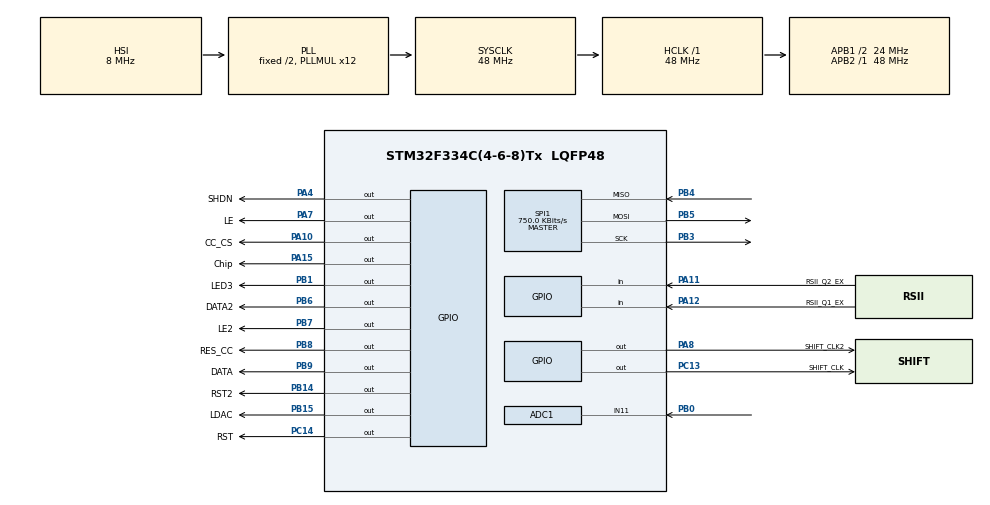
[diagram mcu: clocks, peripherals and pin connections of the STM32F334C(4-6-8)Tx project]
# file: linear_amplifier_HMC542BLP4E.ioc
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ADC1.Channel-0\#ChannelRegularConversion=ADC_CHANNEL_11
ADC1.NbrOfConversionFlag=1
ADC1.Offset-0\#ChannelRegularConversion=0
ADC1.OffsetNumber-0\#ChannelRegularConversion=ADC_OFFSET_NONE
ADC1.Rank-0\#ChannelRegularConversion=1
ADC1.SamplingTime-0\#ChannelRegularConversion=ADC_SAMPLETIME_1CYCLE_5
ADC1.SamplingTimeOPAMP-0\#ChannelRegularConversion=ADC_SAMPLETIME_19CYCLES_5
ADC1.SubFamily=STM32F334x8
ADC1.master=1
Mcu.Family=STM32F3
Mcu.Name=STM32F334C(4-6-8)Tx
Mcu.Package=LQFP48
NVIC.PriorityGroup=NVIC_PRIORITYGROUP_4
PA10.GPIO_Label=CC_CS
PA10.Signal=GPIO_Output
PA11.GPIO_Label=RSII_Q2_EX
PA11.Signal=GPIO_Input
PA12.GPIO_Label=RSII_Q1_EX
PA12.Signal=GPIO_Input
PA13.Mode=Serial_Wire
PA13.Signal=SYS_JTMS-SWDIO
PA14.Mode=Serial_Wire
PA14.Signal=SYS_JTCK-SWCLK
PA15.GPIO_Label=Chip
PA15.Signal=GPIO_Output
PA4.GPIO_Label=SHDN
PA4.Signal=GPIO_Output
PA7.GPIO_Label=LE
PA7.Signal=GPIO_Output
PA8.GPIO_Label=SHIFT_CLK2
PA8.Signal=GPIO_Output
PB0.Mode=IN11-Single-Ended
PB0.Signal=ADC1_IN11
PB1.GPIO_Label=LED3
PB1.Signal=GPIO_Output
PB14.GPIO_Label=RST2
PB14.Signal=GPIO_Output
PB15.GPIO_Label=LDAC
PB15.Signal=GPIO_Output
PB3.Mode=Full_Duplex_Master
PB3.Signal=SPI1_SCK
PB4.Mode=Full_Duplex_Master
PB4.Signal=SPI1_MISO
PB5.Mode=Full_Duplex_Master
PB5.Signal=SPI1_MOSI
PB6.GPIO_Label=DATA2
PB6.Signal=GPIO_Output
PB7.GPIO_Label=LE2
PB7.Signal=GPIO_Output
PB8.GPIO_Label=RES_CC
PB8.Signal=GPIO_Output
PB9.GPIO_Label=DATA
PB9.Signal=GPIO_Output
PC13.GPIO_Label=SHIFT_CLK
PC13.Signal=GPIO_Output
PC14\ /\ OSC32_IN.GPIO_Label=RST
PC14\ /\ OSC32_IN.Signal=GPIO_Output
ProjectManager.HeapSize=0x200
ProjectManager.StackSize=0x400
ProjectManager.TargetToolchain=STM32CubeIDE
RCC.AHBFreq_Value=48000000
RCC.APB1CLKDivider=RCC_HCLK_DIV2
RCC.APB1Freq_Value=24000000
RCC.APB1TimFreq_Value=48000000
RCC.APB2Freq_Value=48000000
RCC.APB2TimFreq_Value=48000000
RCC.CortexFreq_Value=48000000
RCC.HCLKFreq_Value=48000000
RCC.HSE_VALUE=8000000
RCC.HSI_VALUE=8000000
RCC.LSE_VALUE=32768
RCC.PLLMUL=RCC_PLL_MUL12
RCC.SYSCLKFreq_VALUE=48000000
RCC.SYSCLKSourceVirtual=RCC_SYSCLKSOURCE_PLLCLK
SPI1.BaudRatePrescaler=SPI_BAUDRATEPRESCALER_64
SPI1.CalculateBaudRate=750.0 KBits/s
SPI1.DataSize=SPI_DATASIZE_8BIT
SPI1.Direction=SPI_DIRECTION_2LINES
SPI1.Mode=SPI_MODE_MASTER
SPI1.VirtualType=VM_MASTER
TIM2.Period=65535
VP_TIM2_VS_ClockSourceINT.Mode=Internal
board=custom

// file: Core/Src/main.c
/* USER CODE BEGIN Header */
/**
 ******************************************************************************
 * @file           : main.c
 * @brief          : Main program body
 ******************************************************************************
 * @attention
 *
 * Copyright (c) 2025 STMicroelectronics.
 * All rights reserved.
 *
 * This software is licensed under terms that can be found in the LICENSE file
 * in the root directory of this software component.
 * If no LICENSE file comes with this software, it is provided AS-IS.
 *
 ******************************************************************************
 */
/* USER CODE END Header */
#include "main.h"
#include "adc.h"
#include "spi.h"
#include "tim.h"
#include "gpio.h"

/* USER CODE BEGIN Includes */
#include <CC1200_rx_reg_values_my.h>
#include <stdio.h>
#include <stdlib.h>
#include "CC1200_commands.h"
#include <string.h>
/* USER CODE END Includes */

/* USER CODE BEGIN PM */
const uint8_t scrambler_tbl[] = { 0x00, 0xa5, 0xd2, 0x69, 0xb4, 0xda, 0xed,
		0x76, 0xbb, 0x5d, 0xae, 0xd7, 0x6b, 0xb5, 0x5a, 0xad, 0x56, 0xab, 0xd5,
		0x6a, 0x35, 0x1a, 0x8d, 0x46, 0x23, 0x11, 0x88, 0x44, 0x22, 0x91, 0xc8,
		0x64, 0x32, 0x19, 0x0c, 0x86, 0x43, 0x21, 0x10, 0x08, 0x04, 0x02, 0x81,
		0x40, 0xa0, 0xd0, 0x68, 0x34, 0x9a, 0xcd, 0x66, 0x33, 0x99, 0x4c, 0xa6,
		0x53, 0xa9, 0xd4, 0xea, 0x75, 0x3a, 0x9d, 0xce, 0xe7, 0xf3, 0xf9, 0x7c,
		0x3e };

typedef struct {
	int8_t power_dbm;
	uint8_t pa_cfg1_value;
} TxPowerEntry;

const TxPowerEntry txPowerTable[] = { { 14, 0x7F }, { 13, 0x7C }, { 12, 0x7A },
		{ 11, 0x78 }, { 10, 0x76 }, { 9, 0x73 }, { 8, 0x71 }, { 7, 0x6E }, { 6,
				0x6C }, { 5, 0x6A }, { 4, 0x68 }, { 3, 0x66 }, { 2, 0x63 }, { 1,
				0x61 }, { 0, 0x5F }, { -3, 0x58 }, { -6, 0x51 }, { -11, 0x46 },
		{ -12, 0x44 }, { -24, 0x42 }, { -40, 0x41 }, };

typedef struct {
	char registerValue;
	float value_in_db_from_datsheet;
	float value_in_db_real;
	int value_in_db_to_display;
} attValues_t;

const attValues_t attValue[] = {

{ 0b11111100, 0, 1.2, 1 }, { 0b11110100, 1, 2.3, 2 }, { 0b11101100, 2, 3.3, 3 },
		{ 0b11100100, 3, 4.3, 4 }, { 0b11011100, 4, 5.3, 5 }, { 0b11010100, 5,
				5.3, 6 }, { 0b11001100, 6, 7.3, 7 }, { 0b11000100, 7, 8.3, 8 },
		{ 0b10111100, 8, 9.2, 9 }, { 0b10110100, 9, 10.2, 10 }, { 0b10101100,
				10, 11.2, 11 }, { 0b10100100, 11, 12.2, 12 }, { 0b10011100, 12,
				13.2, 13 }, { 0b10010100, 13, 14.2, 14 }, { 0b10001100, 14,
				15.2, 15 }, { 0b10000100, 15, 16.2, 16 }, { 0b01111100, 16,
				17.1, 17 }, { 0b01110100, 17, 18.1, 18 }, { 0b01101100, 18,
				19.1, 19 }, { 0b01100100, 19, 20.1, 20 }, { 0b01011100, 20,
				21.1, 21 }, { 0b01010100, 21, 22.1, 22 }, { 0b01001100, 22,
				23.1, 23 }, { 0b01000100, 23, 24.1, 24 }, { 0b00111100, 24,
				25.1, 25 }, { 0b00110100, 25, 26.1, 26 }, { 0b00101100, 26,
				27.1, 27 }, { 0b00100100, 27, 28.1, 28 }, { 0b00011100, 28,
				29.1, 29 }, { 0b00010100, 29, 30.1, 30 }, { 0b00001100, 30,
				31.1, 31 }, { 0b00000100, 31, 32.1, 32 },

};

uint8_t current_att_down = 0b10101100; // начальное значение (9 дБ)
uint8_t current_att_up = 0b10101100;

/* USER CODE END PM */

void SystemClock_Config(void);

/* USER CODE BEGIN 0 */

#define CC_CS_ON()  HAL_GPIO_WritePin(CC_CS_GPIO_Port, CC_CS_Pin, GPIO_PIN_RESET)
#define CC_CS_OFF() HAL_GPIO_WritePin(CC_CS_GPIO_Port, CC_CS_Pin, GPIO_PIN_SET)

#define MCP_CS_ON()  HAL_GPIO_WritePin(MCP_CS_GPIO_Port, MCP_CS_Pin, GPIO_PIN_RESET)
#define MCP_CS_OFF() HAL_GPIO_WritePin(MCP_CS_GPIO_Port, MCP_CS_Pin, GPIO_PIN_SET)

uint8_t spiByte; //for SPI work
uint8_t spiStatusByte; //for SPI work
const uint8_t dummyByte = 0xFF; //for SPI read
uint8_t cc_received_byte;

uint8_t received_bytes_arr[10000] = { 0 };
int received_bytes_arr_ptr = 0;

int ary = 0;

int ary2 = 0;
int rssi2 = 0;

uint16_t adc_raw_vin = 0;

typedef struct {
	uint16_t dac_value;
	int8_t rssi_level;
} DAC_RSSI;

DAC_RSSI dac_rssi_table[] = { { 0, -17 }, { 20, -16 }, { 50, -15 },
		{ 100, -14 }, { 170, -13 }, { 270, -12 }, { 400, -11 }, { 550, -10 }, {
				800, -9 }, { 1200, -8 }, { 1700, -7 }, { 2200, -6 },
		{ 4095, -5 }, };

struct amp_settings {
	unsigned gain :3;
	unsigned bias1 :2;
	unsigned bias2 :2;
	unsigned vgain :1;
	unsigned vbias :3;
	unsigned preamble :2;
	unsigned video_ena :1;
	unsigned diag_ena :1;
} amp_settings1;

uint8_t rssi = 1;
uint8_t adcvid = 2, adcul = 3, adcdl = 4, adcvin = 5, lsbs = 6;

#define TABLE_SIZE (sizeof(dac_rssi_table) / sizeof(DAC_RSSI))

static void delay_ns(uint32_t ns) {
	for (volatile uint32_t i = 0; i < (ns / 10 + 1); i++) {
		__NOP();
	}
}

void MCP4922_Write(uint8_t channel, uint16_t value) {
	uint16_t frame = 0;
	frame |= ((channel & 0x1) << 15);  // D15 — канал: 0=A, 1=B
	frame |= (0 << 14);                // D14 — unbuffered (0)
	frame |= (1 << 13);                // D13 — gain = 1×
	frame |= (1 << 12);                // D12 — shutdown = active (1)
	frame |= (value & 0x0FFF);         // D11…D0 — 12-бит данные

	uint8_t spiData[2] = { (uint8_t) (frame >> 8), (uint8_t) (frame & 0xFF) };

	// 2) SPI-передача с CS LOW→HIGH
	HAL_GPIO_WritePin(Chip_GPIO_Port, Chip_Pin, GPIO_PIN_RESET);
	HAL_SPI_Transmit(&hspi1, spiData, 2, HAL_MAX_DELAY);
	HAL_GPIO_WritePin(Chip_GPIO_Port, Chip_Pin, GPIO_PIN_SET);
	HAL_GPIO_WritePin(LDAC_GPIO_Port, LDAC_Pin, GPIO_PIN_RESET);
	delay_ns(100);
	HAL_GPIO_WritePin(LDAC_GPIO_Port, LDAC_Pin, GPIO_PIN_SET);

}

void MCP4922_Send(uint8_t control, uint8_t data) {
	HAL_GPIO_WritePin(Chip_GPIO_Port, Chip_Pin, GPIO_PIN_RESET);
	HAL_SPI_Transmit(&hspi1, &control, 1, HAL_MAX_DELAY);
	HAL_SPI_Transmit(&hspi1, &data, 1, HAL_MAX_DELAY);
	HAL_GPIO_WritePin(Chip_GPIO_Port, Chip_Pin, GPIO_PIN_SET);
}

static void HMC_WriteBit(uint8_t bit) {
	HAL_GPIO_WritePin(DATA_GPIO_Port, DATA_Pin,
			bit ? GPIO_PIN_SET : GPIO_PIN_RESET);
	HAL_GPIO_WritePin(SHIFT_CLK_GPIO_Port, SHIFT_CLK_Pin, GPIO_PIN_RESET);
	delay_ns(30);
	HAL_GPIO_WritePin(SHIFT_CLK_GPIO_Port, SHIFT_CLK_Pin, GPIO_PIN_SET);

	delay_ns(30);
}

static void HMC_WriteBit2(uint8_t bit) {
	HAL_GPIO_WritePin(DATA2_GPIO_Port, DATA2_Pin,
			bit ? GPIO_PIN_SET : GPIO_PIN_RESET);
	HAL_GPIO_WritePin(SHIFT_CLK2_GPIO_Port, SHIFT_CLK2_Pin, GPIO_PIN_RESET);
	delay_ns(30);
	HAL_GPIO_WritePin(SHIFT_CLK2_GPIO_Port, SHIFT_CLK2_Pin, GPIO_PIN_SET);

	delay_ns(30);
}

// Установка затухания
void HMC_SetAttenuation(float attenuation_db, uint8_t data) {
	if (attenuation_db < 0.0f)
		attenuation_db = 0.0f;
	if (attenuation_db > 31.5f)
		attenuation_db = 31.5f;

	uint8_t att_half_db = (uint8_t) (attenuation_db * 2.0f + 0.5f); // округление до ближайшего
	if (att_half_db > 63)
		att_half_db = 63;
	//0b10011100

	//data = 0b10110100; // данные по даташиту (6 бит сдвинуты на 2 влево)

	HAL_GPIO_WritePin(LE_GPIO_Port, LE_Pin, GPIO_PIN_RESET);

	// Отправка всех 8 бит MSB first
	for (int i = 7; i >= 0; i--) {
		HMC_WriteBit((data >> i) & 0x01);
	}

	delay_ns(40); // Время установки LE
	HAL_GPIO_WritePin(LE_GPIO_Port, LE_Pin, GPIO_PIN_SET);
	delay_ns(40); // Удержание LE
	HAL_GPIO_WritePin(LE_GPIO_Port, LE_Pin, GPIO_PIN_RESET);
}
void HMC_SetAttenuation2(float attenuation_db, uint8_t data) {
	if (attenuation_db < 0.0f)
		attenuation_db = 0.0f;
	if (attenuation_db > 31.5f)
		attenuation_db = 31.5f;

	uint8_t att_half_db = (uint8_t) (attenuation_db * 2.0f + 0.5f); // округление до ближайшего
	if (att_half_db > 63)
		att_half_db = 63;
	//0b10011100

	//data = 0b10110100; // данные по даташиту (6 бит сдвинуты на 2 влево)

	HAL_GPIO_WritePin(LE2_GPIO_Port, LE2_Pin, GPIO_PIN_RESET);

	// Отправка всех 8 бит MSB first
	for (int i = 7; i >= 0; i--) {
		HMC_WriteBit2((data >> i) & 0x01);
	}

	delay_ns(40); // Время установки LE
	HAL_GPIO_WritePin(LE2_GPIO_Port, LE2_Pin, GPIO_PIN_SET);
	delay_ns(40); // Удержание LE
	HAL_GPIO_WritePin(LE2_GPIO_Port, LE2_Pin, GPIO_PIN_RESET);
}

// Сброс устройства
void HMC_Reset(void) {
	HAL_GPIO_WritePin(RST_GPIO_Port, RST_Pin, GPIO_PIN_RESET);
	HAL_Delay(1);
	HAL_GPIO_WritePin(RST_GPIO_Port, RST_Pin, GPIO_PIN_SET);
}

void HMC2_Reset(void) {
	HAL_GPIO_WritePin(RST2_GPIO_Port, RST2_Pin, GPIO_PIN_RESET);
	HAL_Delay(1);
	HAL_GPIO_WritePin(RST2_GPIO_Port, RST2_Pin, GPIO_PIN_SET);
}

// Функция для установки значения ЦАП
void set_dac_value(uint16_t value, int num) {
	// Здесь должен быть код для установки значения ЦАП
	// Например, если используется HAL для STM32:
	if (num == 0) {
		MCP4922_Write(0, value);
	} else
		MCP4922_Write(1, value);
}

///CC1200

void CC1200_rx_write_reg(uint16_t regAddr, uint8_t value) {

	CC_CS_ON();

	uint8_t addr_h = (uint8_t) (regAddr >> 8);
	uint8_t addr_l = (uint8_t) (regAddr & 0x00FF);

	if (addr_h) //если 2-байтный адрес
	{
		uint8_t command = CC1200_WRITE | addr_h;
		HAL_SPI_TransmitReceive(&hspi1, &command, &spiByte, 1, HAL_MAX_DELAY);
		HAL_SPI_TransmitReceive(&hspi1, &addr_l, &spiByte, 1, HAL_MAX_DELAY);
	} else //если 1-байтный адрес
	{
		uint8_t command = CC1200_WRITE | addr_l;
		HAL_SPI_TransmitReceive(&hspi1, &command, &spiByte, 1, HAL_MAX_DELAY);
	}
	HAL_SPI_Transmit(&hspi1, &value, 1, HAL_MAX_DELAY); //значение регистра

	CC_CS_OFF();
}

uint8_t CC1200_rx_read_reg(uint16_t regAddr) {

	CC_CS_ON();

	uint8_t addr_h = (uint8_t) (regAddr >> 8);
	uint8_t addr_l = (uint8_t) (regAddr & 0x00FF);

	if (addr_h) //если 2-байтный адрес
	{
		uint8_t command = CC1200_READ | addr_h;
		HAL_SPI_TransmitReceive(&hspi1, &command, &spiByte, 1, HAL_MAX_DELAY);
		HAL_SPI_TransmitReceive(&hspi1, &addr_l, &spiByte, 1, HAL_MAX_DELAY);
	} else //если 1-байтный адрес
	{
		uint8_t command = CC1200_WRITE | addr_l;
		HAL_SPI_TransmitReceive(&hspi1, &command, &spiByte, 1, HAL_MAX_DELAY);
	}
	HAL_SPI_TransmitReceive(&hspi1, (uint8_t*) &dummyByte, &spiByte, 1,
	HAL_MAX_DELAY); //send dummy byte for read register

	CC_CS_OFF();

	return spiByte; //значение регистра
}

void CC1200_rx_send_command(uint8_t value) {

	CC_CS_ON();

	HAL_SPI_TransmitReceive(&hspi1, &value, &spiStatusByte, 1, HAL_MAX_DELAY); //команда //устанавливает StatusByte

	CC_CS_OFF();
}

uint8_t get_cc_state() {
	CC1200_rx_send_command(CC1200_SNOP);
	return (spiStatusByte & CC1200_STATUS_BYTE_STATE_MASK)
			>> CC1200_STATUS_BYTE_STATE_SHIFT;
}

void CC1200_tx_init(void) {
	CC_CS_OFF();
	HAL_GPIO_WritePin(RES_CC_GPIO_Port, RES_CC_Pin, 0);
	HAL_Delay(100);
	HAL_GPIO_WritePin(RES_CC_GPIO_Port, RES_CC_Pin, 1);
	CC_CS_ON();
	HAL_Delay(50);
	for (int i = 0; i < sizeof(txSettings) / sizeof(txSettings[0]); i++) {
		CC1200_rx_write_reg(txSettings[i].regAddr, txSettings[i].value);
	}
	CC1200_rx_send_command(CC1200_SIDLE);
	CC1200_rx_send_command(CC1200_SFTX);
	CC_CS_OFF();
}

void CC1200_send_packet(const uint8_t *data, uint8_t len) {
	CC_CS_ON();
	uint8_t burstCmd = CC1200_WRITE | CC1200_BURST | 0x3F;
	HAL_SPI_Transmit(&hspi1, &burstCmd, 1, HAL_MAX_DELAY);
	//HAL_SPI_Transmit(&hspi1, &len, 1, HAL_MAX_DELAY);
	// НЕ отправляем len отдельно! data уже содержит полный пакет
	HAL_SPI_Transmit(&hspi1, (uint8_t*) data, len, HAL_MAX_DELAY);
	CC_CS_OFF();
	CC1200_rx_send_command(CC1200_STX);
	uint32_t timeout = 5000;
	while (timeout--) {
		if (get_cc_state() == 0b000)
			break;
		HAL_Delay(1);
	}
	if (timeout == 0)
		CC1200_rx_send_command(CC1200_SIDLE);
}

void CC1200_rx_init() {

	CC_CS_OFF();
	HAL_GPIO_WritePin(RES_CC_GPIO_Port, RES_CC_Pin, 0);
	HAL_Delay(100);
	HAL_GPIO_WritePin(RES_CC_GPIO_Port, RES_CC_Pin, 1);

	CC_CS_ON(); //включение приёма по SPI
	HAL_Delay(50);

	for (int i = 0; i < sizeof(preferredSettings) / sizeof(registerSetting_t);
			++i) {
		CC1200_rx_write_reg(preferredSettings[i].regAddr,
				preferredSettings[i].value);
	}

	CC1200_rx_send_command(CC1200_SIDLE);
	CC1200_rx_send_command(CC1200_SFRX);
	CC1200_rx_send_command(CC1200_SRX);
	HAL_Delay(50);
}

uint16_t crc16_modbus(const uint8_t *data, uint8_t len) {
	uint16_t crc = 0xFFFF;
	for (uint8_t i = 0; i < len; i++) {
		crc ^= data[i];
		for (uint8_t j = 0; j < 8; j++) {
			if (crc & 0x0001)
				crc = (crc >> 1) ^ 0xA001;
			else
				crc >>= 1;
		}
	}
	return crc;
}

uint8_t diag_mk_len(uint8_t n) {
	// n – количество байт в payload (без заголовка длины)
	if (n % 4 || n > 64)
		return 0;
	n >>= 2;
	n--;
	return ((~n & 15) << 4) | n;
}

uint16_t pack_amp_settings(struct amp_settings *a) {
	return ((a->gain & 0x07) << 13) | ((a->bias1 & 0x03) << 11)
			| ((a->bias2 & 0x03) << 9) | ((a->vgain & 0x01) << 8)
			| ((a->vbias & 0x07) << 5) | ((a->preamble & 0x03) << 3)
			| ((a->video_ena & 0x01) << 2) | ((a->diag_ena & 0x01) << 1);
}

int diag_descramble(uint8_t *data, uint8_t len) {
	if (len < 3)
		return 0;
	// Скремблированы все байты, кроме последних трёх (0xAA)
	for (uint8_t i = 0; i < len - 3; i++) {
		data[i] ^= scrambler_tbl[i % sizeof(scrambler_tbl)];
	}
	// Проверка CRC (CRC считается по data[0] до len-5, т.к. последние 5 байт: CRC(2) + AA(3))
	if (len < 5)
		return 0;
	uint16_t crc_received = (data[len - 5] << 8) | data[len - 6];
	uint16_t crc_calc = crc16_modbus(data, len - 5);
	//if (crc_received != crc_calc)
	//	return 0;
	// Проверка, что последние три байта = 0xAA
	if (data[len - 3] != 0xAA || data[len - 2] != 0xAA || data[len - 1] != 0xAA)
		return 0;
	return 1;
}

uint16_t diag_build_reply(uint8_t *buf, uint16_t addr, uint8_t req,
		uint8_t rssi, uint8_t adcvid, uint8_t adcul, uint8_t adcdl,
		uint8_t adcvin, uint8_t lsbs, uint16_t amp) {
	// Размер полезной нагрузки без sz = 2+1+1+1+1+1+1+2+1 = 11 байт?
	// По документации sz = 12 (включая само поле sz). Значит payload_len = 11.
	uint8_t payload_len = 12; // addr(2)+rssi(1)+adcvid(1)+adcul(1)+adcdl(1)+adcvin(1)+lsbs(1)+amp(2)+pad(1)
	uint8_t enc_len = diag_mk_len(payload_len);
	if (!enc_len)
		return 0;

	buf[0] = enc_len;
	buf[1] = addr >> 8;
	buf[2] = addr & 0xFF;
	buf[3] = req;
	buf[4] = rssi;
	buf[5] = amp >> 8;
	buf[6] = amp & 0xFF;
	buf[7] = adcdl;
	buf[8] = adcvin;
	buf[9] = lsbs;
	buf[10] = amp >> 8;
	buf[11] = amp & 0xFF;
	buf[12] = 0; // pad

	uint16_t crc = crc16_modbus(buf, payload_len + 1);
	uint8_t *p = buf + payload_len + 1;
	*p++ = crc & 0xFF;
	*p++ = crc >> 8;
	*p++ = 0xAA;
	*p++ = 0xAA;
	*p++ = 0xAA;

	uint8_t total_len = payload_len + 1 + 2 + 3; // enc_len + payload + crc + AA*3
	for (uint8_t i = 0; i < total_len - 3; i++) {
		buf[i] ^= scrambler_tbl[i % sizeof(scrambler_tbl)];
	}
	return total_len;
}

void send_telemetry_reply(uint16_t addr, uint8_t req) {

	//uint8_t rssi = 0; // заглушка

	// Старшие 8 бит напряжения (adc_raw_vin — 12 бит, сдвигаем на 2)
	uint8_t adcvin = adc_raw_vin >> 2;
	// Младшие 2 бита напряжения (и других каналов) — пока только для vin
	uint8_t lsbs = (adc_raw_vin & 0x03) << 6; // биты 6-7 для vin

	// Пока другие АЦП не используются, заполняем нулями
	uint8_t adcvid = 0;
	uint8_t adcul = 0;
	uint8_t adcdl = 0;
	// можно добавить lsbs для них, если будут

	// В поле amp передаём коды аттенюации (down — старший байт, up — младший)
	uint16_t amp = (current_att_down << 8) | current_att_up | 0x8000;

	uint8_t buf[128];
	uint16_t len = diag_build_reply(buf, addr, req, rssi, adcvid, adcul, adcdl,
			adcvin, lsbs, amp);
	if (len) {
		//CC1200_tx_init();      // переключить на передачу
		CC1200_send_packet(buf, len);
		//CC1200_rx_init();      // вернуться на приём
	}
}

void CC1200_rx_read_fifo_burst(uint8_t *buffer, uint8_t len) {
	CC_CS_ON();
	uint8_t cmd = CC1200_READ | CC1200_BURST | 0x3F; // 0xFF
	HAL_SPI_Transmit(&hspi1, &cmd, 1, HAL_MAX_DELAY);
	for (uint8_t i = 0; i < len; i++) {
		HAL_SPI_Receive(&hspi1, &buffer[i], 1, HAL_MAX_DELAY);
	}
	CC_CS_OFF();
}

void unpack_amp_settings(uint16_t amp_word, struct amp_settings *a) {
	a->gain = (amp_word >> 13) & 0x07;
	a->bias1 = (amp_word >> 11) & 0x03;
	a->bias2 = (amp_word >> 9) & 0x03;
	a->vgain = (amp_word >> 8) & 0x01;
	a->vbias = (amp_word >> 5) & 0x07;
	a->preamble = (amp_word >> 3) & 0x03;
	a->video_ena = (amp_word >> 2) & 0x01;
	a->diag_ena = (amp_word >> 1) & 0x01;
}

uint16_t read_adc_channel(ADC_HandleTypeDef *hadc, uint32_t channel) {
	ADC_ChannelConfTypeDef sConfig = { 0 };
	sConfig.Channel = channel;
	sConfig.Rank = ADC_REGULAR_RANK_1;         // вместо ADC_RANK_CHANNEL_NUMBER
	sConfig.SamplingTime = ADC_SAMPLETIME_4CYCLES_5; // вместо ADC_SAMPLETIME_84CYCLES_5
	if (HAL_ADC_ConfigChannel(hadc, &sConfig) != HAL_OK)
		return 0;

	HAL_ADC_Start(hadc);
	if (HAL_ADC_PollForConversion(hadc, 10) != HAL_OK)
		return 0;
	uint16_t raw = HAL_ADC_GetValue(hadc);
	HAL_ADC_Stop(hadc);
	return raw;
}

/* USER CODE END 0 */

int main(void) {

	/* MCU Configuration--------------------------------------------------------*/

	/* Reset of all peripherals, Initializes the Flash interface and the Systick. */
	HAL_Init();

	/* Configure the system clock */
	SystemClock_Config();

	/* Initialize all configured peripherals */
	MX_GPIO_Init();
	MX_TIM2_Init();
	MX_SPI1_Init();
	MX_ADC1_Init();
	/* USER CODE BEGIN 2 */

	HAL_ADCEx_Calibration_Start(&hadc1, ADC_SINGLE_ENDED);

	adc_raw_vin = read_adc_channel(&hadc1, ADC_CHANNEL_11);
	float voltage = adc_raw_vin * 3.3f / 4096.0f * 17.7f;
	// Инициализация начального состояния пинов
	HAL_GPIO_WritePin(LE_GPIO_Port, LE_Pin, GPIO_PIN_SET);
	HAL_GPIO_WritePin(SHIFT_CLK_GPIO_Port, SHIFT_CLK_Pin, GPIO_PIN_RESET);
	HAL_GPIO_WritePin(DATA_GPIO_Port, DATA_Pin, GPIO_PIN_RESET);
	HAL_GPIO_WritePin(RST_GPIO_Port, RST_Pin, GPIO_PIN_SET);

	HAL_GPIO_WritePin(LE2_GPIO_Port, LE2_Pin, GPIO_PIN_SET);
	HAL_GPIO_WritePin(SHIFT_CLK2_GPIO_Port, SHIFT_CLK2_Pin, GPIO_PIN_RESET);
	HAL_GPIO_WritePin(DATA2_GPIO_Port, DATA2_Pin, GPIO_PIN_RESET);
	HAL_GPIO_WritePin(RST2_GPIO_Port, RST2_Pin, GPIO_PIN_SET);

	// Сброс чипа
	HMC_Reset();
	HMC2_Reset();

	HMC_SetAttenuation(15.5f, 0b11101100); //тут менять уровни!
	HMC_SetAttenuation2(15.5f, 0b11101100);
	current_att_down = 0b11101100;
	current_att_up = 0b11101100;
	HAL_GPIO_WritePin(SHDN_GPIO_Port, SHDN_Pin, GPIO_PIN_SET);
	HAL_GPIO_WritePin(LDAC_GPIO_Port, LDAC_Pin, GPIO_PIN_RESET);
	HAL_Delay(100);
	MCP4922_Write(1, 0); //1230 - 1В
	MCP4922_Write(0, 0); //1230 - 1В
	HAL_GPIO_WritePin(LED3_GPIO_Port, LED3_Pin, GPIO_PIN_RESET);
	//HAL_GPIO_WritePin(CC_RESET_GPIO_Port, CC_RESET_Pin, GPIO_PIN_RESET);

	//CC1200_init();
	CC1200_rx_init();
	//HMC_SetAttenuation(15.5f, 0b01011100);
	/* USER CODE END 2 */

	/* Infinite loop */
	/* USER CODE BEGIN WHILE */
	//HAL_GPIO_WritePin(CS_GPIO_Port, CS_Pin, GPIO_PIN_SET);
	uint32_t trigger_dac0 = 0;
	uint32_t trigger_dac1 = 0;

	//MCP4922_Write(1, dac_rssi_table[i].dac_value);
	while (1) {
		//HAL_Delay(1);
		const int toggle_led_freq_divider = 10;
		static int toggle_led_counter = 0;

		uint8_t cc_state = get_cc_state();
		switch (cc_state) {
		case 0b001: //rx mode
			//int num_of_bytes = CC1200_rx_read_reg ( CC1200_NUM_RXBYTES );
			uint8_t num_bytes = CC1200_rx_read_reg(CC1200_NUM_RXBYTES);
			if (num_bytes > 0) {
				uint8_t rx_packet[128];
				CC1200_rx_read_fifo_burst(rx_packet, num_bytes);
				uint8_t start = 0;
				while (start < num_bytes && rx_packet[start] == 0xAA)
					start++;
				if (start > num_bytes) {
					CC1200_rx_send_command(CC1200_SFRX);
					break;
				}
				uint8_t packet_len = num_bytes - start;
				memmove(rx_packet, &rx_packet[start], packet_len);
				num_bytes = packet_len;

				if (!diag_descramble(rx_packet, num_bytes)) {
					// пакет невалиден – игнорируем
					//uint16_t src_addr = (rx_packet[1] << 8) | rx_packet[2];
					//CC1200_tx_init();
					//CC1200_tx_init();
					//send_telemetry_reply(src_addr, 2);
					CC1200_rx_send_command(CC1200_SFRX);
					CC1200_rx_init();
					break;
				}
				// теперь rx_packet[0] – кодированная длина, [1]..[2] – addr, [3] – req, [4] – opt, [5].. – data
				uint16_t src_addr = (rx_packet[1] << 8) | rx_packet[2];
				uint8_t req = rx_packet[3];
				uint8_t opt = rx_packet[4];
				// data_len = (enc_len & 0x0F) * 4? Но проще вычислить из общего размера
				// payload_len = (enc_len & 0x0F) * 4 + 4? Лучше по размеру полученного пакета

				uint8_t enc_len = rx_packet[0];
				uint8_t payload_len = ((enc_len & 0x0F) + 1) * 4; // обратное преобразование diag_mk_len
				uint8_t data_len = payload_len - 4;
				uint8_t *data_ptr = &rx_packet[5];

				if (req == 0) { // PCK_REQ_GENERAL
					uint16_t src_addr = (rx_packet[1] << 8) | rx_packet[2];
					//CC1200_tx_init();
					CC1200_tx_init();
					send_telemetry_reply(src_addr, 0);
					CC1200_rx_send_command(CC1200_SFRX);
					CC1200_rx_init();
					adc_raw_vin = read_adc_channel(&hadc1, ADC_CHANNEL_11); // МОЖНО СДЕЛАТЬ ПО ТАЙМЕРУ
				} else if (req == 2) { // PCK_SET_PARAMS
					if (data_len >= 2) {
						uint16_t amp_word = (data_ptr[1] << 8) | data_ptr[0]; // little-endian: младший байт первым
						unpack_amp_settings(amp_word, &amp_settings1); // сохраняем в глобальную структуру

						// Применяем настройки к усилителю.
						// Например, используем поле gain для выбора аттенюации (map 0..7 -> индекс в attValue)
						// Можно отобразить gain * 4 (макс 28, но у нас таблица до 31)
						uint8_t idx = amp_settings1.gain * 4;
						if (idx >= sizeof(attValue) / sizeof(attValue[0]))
							idx = sizeof(attValue) / sizeof(attValue[0]) - 1;
						// Устанавливаем аттенюацию для обоих каналов одинаково (или по-другому)
						HMC_SetAttenuation(15.5f, attValue[idx].registerValue);
						HMC_SetAttenuation2(15.5f, attValue[idx].registerValue);
						// Здесь также можно применить другие поля (bias, vgain и т.д.) к другим узлам.
					}
					send_telemetry_reply(src_addr, req);
				} else if (req == 3) { // PCK_START_TEST
					if (data_len >= 1) {
						uint8_t timeout = data_ptr[0];

					}
					send_telemetry_reply(src_addr, req);
				} else if (req == 12) {
					if (data_len >= 2) {
						uint8_t code_down = data_ptr[0];
						uint8_t code_up = data_ptr[1];
						current_att_down = code_down;
						current_att_up = code_up;
						HMC_SetAttenuation(0, code_down);
						HMC_SetAttenuation2(0, code_up);
					} else if (data_len == 1) {
						uint8_t code = data_ptr[0];
						HMC_SetAttenuation(0, code);
						HMC_SetAttenuation2(0, code);
					}
					CC1200_tx_init();
					send_telemetry_reply(0x4444, 12);
					CC1200_rx_init();
				}
				CC1200_rx_send_command(CC1200_SFRX);
				CC1200_rx_init();
			} else {
				//HAL_GPIO_WritePin(LED3_GPIO_Port, LED3_Pin, GPIO_PIN_RESET);
			}
			break;

		case 0b000: //idle
			CC1200_rx_send_command(CC1200_SRX);
			break;

		case 0b110: //rx fifo error
			CC1200_rx_send_command(CC1200_SFRX);
			CC1200_rx_send_command(CC1200_SRX);
			break;

		case 0b111: //tx fifo error
			CC1200_rx_send_command(CC1200_SFTX);
			CC1200_rx_send_command(CC1200_SRX);
			break;
		}
		int8_t found_rssi_level = -200;
		int8_t found_rssi_level2 = -200;

		uint8_t ch1_ready = 0;
		uint8_t ch2_ready = 0;

		for (uint8_t i = TABLE_SIZE - 1; i > 0; i--) {

			if (ary2 == 0) {
				MCP4922_Write(0, dac_rssi_table[i].dac_value);
			}

			if (ary == 0) {
				MCP4922_Write(1, dac_rssi_table[i].dac_value);
			}

			if ((i % 2 == 0) && (ary2 == 1) && (ary == 1)) {
				MCP4922_Write(1, 1500);
				MCP4922_Write(0, 1500);
			} else if ((i % 2 != 0) && (ary2 == 1) && (ary == 1)) {
				MCP4922_Write(1, 100);
				MCP4922_Write(0, 100);
			}
			HAL_Delay(10);

			/* -------- CHANNEL 1 -------- */

			if (HAL_GPIO_ReadPin(RSII_Q1_EX_GPIO_Port, RSII_Q1_EX_Pin)
					== GPIO_PIN_SET) {

				if (ary2 == 0) {

					found_rssi_level = dac_rssi_table[i].rssi_level;

					if (found_rssi_level >= -8) {
						ch1_ready = 1;
						trigger_dac0 = dac_rssi_table[i].dac_value;
					}
				} else if ((ary2 == 1) && (i % 2 == 0)) {
					HMC_SetAttenuation(15.5f, 0b10000100);
					HMC_SetAttenuation2(15.5f, 0b10000100);
					current_att_down = 0b10000100;
					current_att_up = 0b10000100;
					ary2 = 2;
					ary = 2;
					MCP4922_Write(1, 45);
					MCP4922_Write(0, 45);
				}

			} else {

				if ((ary2 == 1) && (i % 2 != 0)) {

					HMC_SetAttenuation(15.5f, 0b11101100);
					HMC_SetAttenuation2(15.5f, 0b11101100);
					current_att_down = 0b11101100;
					current_att_up = 0b11101100;
					ary = 0;
					ary2 = 0;

					if (ary == 0) {
						HAL_GPIO_WritePin(LED3_GPIO_Port, LED3_Pin,
								GPIO_PIN_RESET);
					}
					break;
				} else if (ary2 == 2) {
					HMC_SetAttenuation2(15.5f, 0b11001100);
					HMC_SetAttenuation(15.5f, 0b11001100);
					current_att_down = 0b11101100;
					current_att_up = 0b11101100;

					ary2 = 1;
					ary = 1;
				}
			}

			/* -------- CHANNEL 2 -------- */

			if (HAL_GPIO_ReadPin(RSII_Q2_EX_GPIO_Port, RSII_Q2_EX_Pin)
					== GPIO_PIN_SET) {

				if (ary == 0) {

					found_rssi_level2 = dac_rssi_table[i].rssi_level;

					if (found_rssi_level2 >= -8) { //-8
						ch2_ready = 1;
						trigger_dac1 = dac_rssi_table[i].dac_value;
					}
				} else if ((ary == 1) && (i % 2 == 0)) {

					HMC_SetAttenuation(15.5f, 0b10000100);
					HMC_SetAttenuation2(15.5f, 0b10000100);
					current_att_down = 0b10000100;
					current_att_up = 0b10000100;
					ary = 2;
					ary2 = 2;
					MCP4922_Write(1, 45);
					MCP4922_Write(0, 45);
				}

			} else {

				if ((ary == 1) && (i % 2 != 0)) {

					HMC_SetAttenuation(15.5f, 0b10101100);
					HMC_SetAttenuation2(15.5f, 0b10101100);
					current_att_down = 0b10101100;
					current_att_up = 0b10101100;
					ary = 0;
					ary2 = 0;
					if (ary2 == 0) {
						HAL_GPIO_WritePin(LED3_GPIO_Port, LED3_Pin,
								GPIO_PIN_RESET);
					}
					break;
				} else if (ary == 2) {
					HMC_SetAttenuation2(15.5f, 0b11001100);
					HMC_SetAttenuation(15.5f, 0b11001100);
					current_att_down = 0b11101100;
					current_att_up = 0b11101100;

					ary2 = 1;
					ary = 1;
				}
			}

			/* -------- ВКЛЮЧЕНИЕ АРУ СРАЗУ НА ДВУХ -------- */

			if (ch1_ready || ch2_ready && ary == 0 && ary2 == 0) {

				HMC_SetAttenuation2(15.5f, 0b11001100);
				HMC_SetAttenuation(15.5f, 0b11001100);
				current_att_down = 0b11101100;
				current_att_up = 0b11101100;

				ary2 = 1;
				ary = 1;

				HAL_GPIO_WritePin(LED3_GPIO_Port, LED3_Pin, GPIO_PIN_SET);

				HAL_Delay(100);

				MCP4922_Write(0, 100); //160 //120 выключение
				MCP4922_Write(1, 100);

				HAL_Delay(100);

				break;
			}
		}

		/* USER CODE END WHILE */

	}
}

void SystemClock_Config(void) {
	RCC_OscInitTypeDef RCC_OscInitStruct = { 0 };
	RCC_ClkInitTypeDef RCC_ClkInitStruct = { 0 };
	RCC_PeriphCLKInitTypeDef PeriphClkInit = { 0 };

	/** Initializes the RCC Oscillators according to the specified parameters
	 * in the RCC_OscInitTypeDef structure.
	 */
	RCC_OscInitStruct.OscillatorType = RCC_OSCILLATORTYPE_HSI;
	RCC_OscInitStruct.HSIState = RCC_HSI_ON;
	RCC_OscInitStruct.HSICalibrationValue = RCC_HSICALIBRATION_DEFAULT;
	RCC_OscInitStruct.PLL.PLLState = RCC_PLL_ON;
	RCC_OscInitStruct.PLL.PLLSource = RCC_PLLSOURCE_HSI;
	RCC_OscInitStruct.PLL.PLLMUL = RCC_PLL_MUL12;
	if (HAL_RCC_OscConfig(&RCC_OscInitStruct) != HAL_OK) {
		Error_Handler();
	}

	/** Initializes the CPU, AHB and APB buses clocks
	 */
	RCC_ClkInitStruct.ClockType = RCC_CLOCKTYPE_HCLK | RCC_CLOCKTYPE_SYSCLK
			| RCC_CLOCKTYPE_PCLK1 | RCC_CLOCKTYPE_PCLK2;
	RCC_ClkInitStruct.SYSCLKSource = RCC_SYSCLKSOURCE_PLLCLK;
	RCC_ClkInitStruct.AHBCLKDivider = RCC_SYSCLK_DIV1;
	RCC_ClkInitStruct.APB1CLKDivider = RCC_HCLK_DIV2;
	RCC_ClkInitStruct.APB2CLKDivider = RCC_HCLK_DIV1;

	if (HAL_RCC_ClockConfig(&RCC_ClkInitStruct, FLASH_LATENCY_1) != HAL_OK) {
		Error_Handler();
	}
	PeriphClkInit.PeriphClockSelection = RCC_PERIPHCLK_ADC12;
	PeriphClkInit.Adc12ClockSelection = RCC_ADC12PLLCLK_DIV1;
	if (HAL_RCCEx_PeriphCLKConfig(&PeriphClkInit) != HAL_OK) {
		Error_Handler();
	}
}

void Error_Handler(void) {
	__disable_irq();
	while (1) {
	}
}
